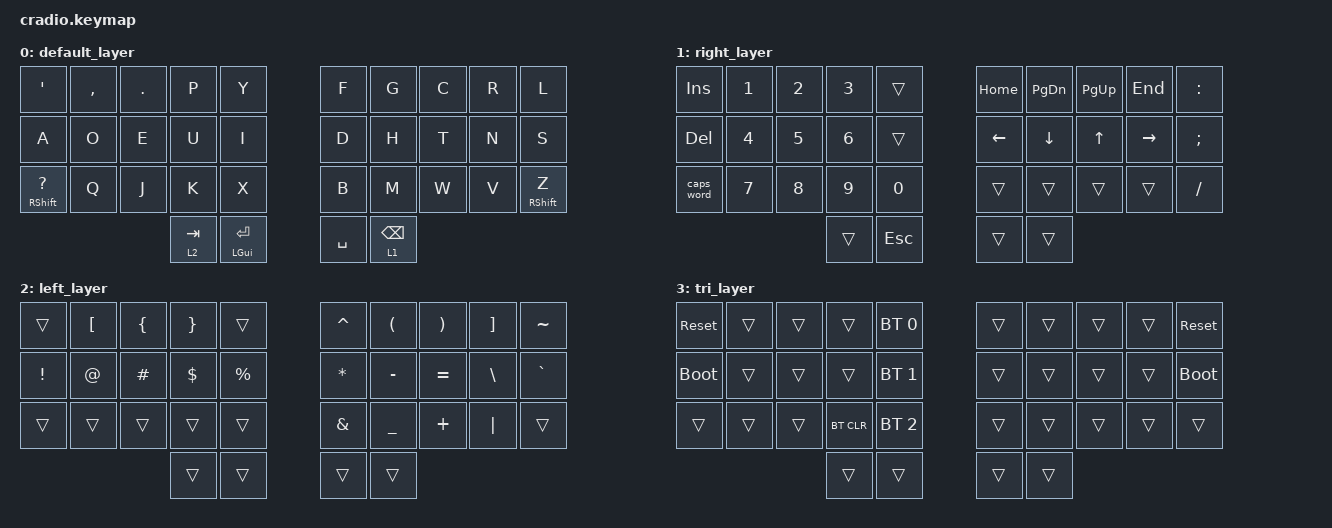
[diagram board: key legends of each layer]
// Copyright (c) 2022 The ZMK Contributors
// SPDX-License-Identifier: MIT

#include <behaviors.dtsi>
#include <dt-bindings/zmk/keys.h>
#include <dt-bindings/zmk/bt.h>

// Home row mods macro
#define HRML(k1,k2,k3,k4) &ht LSHFT k1  &ht LALT k2  &ht LCTRL k3  &ht LGUI k4
#define HRMR(k1,k2,k3,k4) &ht RGUI k1  &ht RCTRL k2  &ht RALT k3  &ht RSHFT k4

/ {
    behaviors {
        ht: hold_tap {
            compatible = "zmk,behavior-hold-tap";
            #binding-cells = <2>;
            flavor = "tap-preferred";
            tapping-term-ms = <220>;
            quick-tap-ms = <150>;
            require-prior-idle-ms = <100>;
            bindings = <&kp>, <&kp>;
        };
    };

    conditional_layers {
        compatible = "zmk,conditional-layers";
        tri_layer {
            if-layers = <1 2>;
            then-layer = <3>;
        };
    };

    keymap {
        compatible = "zmk,keymap";
        default_layer {
            bindings = <
        //╭──────────┬──────────┬──────────┬──────────┬──────────╮   ╭──────────┬──────────┬──────────┬──────────┬──────────╮
        //│  ' "     │  , <     │  . >     │  P       │  Y       │   │  F       │  G       │  C       │  R       │  L       │
            &kp SQT    &kp COMMA   &kp DOT    &kp P      &kp Y          &kp F      &kp G      &kp C      &kp R      &kp L
        //├──────────┼──────────┼──────────┼──────────┼──────────┤   ├──────────┼──────────┼──────────┼──────────┼──────────┤
        //│  A       │  O       │  E       │  U       │  I       │   │  D       │  H       │  T       │  N       │  S       │
            &kp A      &kp O      &kp E      &kp U      &kp I          &kp D      &kp H      &kp T      &kp N       &kp S
        //├──────────┼──────────┼──────────┼──────────┼──────────┤   ├──────────┼──────────┼──────────┼──────────┼──────────┤
        //│  ?      │  Q       │  J       │  K       │  X       │   │  B       │  M       │  W       │  V       │  Z       │
         &mt RSHFT QMARK &kp Q      &kp J      &kp K      &kp X          &kp B      &kp M      &kp W      &kp V    &mt RSHFT Z
        //╰──────────┴──────────┴──────────┼──────────┼──────────┤   ├──────────┼──────────┼──────────┴──────────┴──────────╯
                                            &lt 2 TAB   &mt LGUI ENTER   &kp SPACE  &lt 1 BSPC
        //                                 ╰──────────┴──────────╯   ╰──────────┴──────────╯
            >;
        };

        right_layer {
            bindings = <
        //╭──────────┬──────────┬──────────┬──────────┬──────────╮   ╭──────────┬──────────┬──────────┬──────────┬──────────╮
        //│ INSERT   │  1       │  2       │  3       │          │   │ HOME     │ PAGE DN  │ PAGE UP  │ END      │  :       │
            &kp INS    &kp N1     &kp N2     &kp N3     &trans         &kp HOME   &kp PG_DN  &kp PG_UP  &kp END    &kp COLON
        //├──────────┼──────────┼──────────┼──────────┼──────────┤   ├──────────┼──────────┼──────────┼──────────┼──────────┤
        //│ DELETE   │  4       │  5       │  6       │          │   │ LEFT     │ DOWN     │ UP       │ RIGHT    │  ;       │
            &kp DEL    &kp N4     &kp N5     &kp N6     &trans         &kp LEFT   &kp DOWN   &kp UP   &kp RIGHT   &kp SEMI
        //├──────────┼──────────┼──────────┼──────────┼──────────┤   ├──────────┼──────────┼──────────┼──────────┼──────────┤
        //│ CAPS     │  7       │  8       │  9       │  0       │   │          │          │          │          │    /     │
           &caps_word  &kp N7     &kp N8     &kp N9     &kp N0         &trans     &trans     &trans     &trans     &kp FSLH
        //╰──────────┴──────────┴──────────┼──────────┼──────────┤   ├──────────┼──────────┼──────────┴──────────┴──────────╯
                                             &trans     &kp ESC        &trans     &trans
        //                                 ╰──────────┴──────────╯   ╰──────────┴──────────╯
            >;
        };

        left_layer {
            bindings = <
        //╭──────────┬──────────┬──────────┬──────────┬──────────╮   ╭──────────┬──────────┬──────────┬──────────┬──────────╮
        //│          │  [       │  {       │  }       │          │   │  ^       │  (       │  )       │  ]       │  ~       │
            &trans     &kp LBKT   &kp LBRC   &kp RBRC   &trans         &kp CARET  &kp LPAR   &kp RPAR   &kp RBKT   &kp TILDE
        //├──────────┼──────────┼──────────┼──────────┼──────────┤   ├──────────┼──────────┼──────────┼──────────┼──────────┤
        //│  !       │  @       │  #       │  $       │  %       │   │  *       │  -       │  =       │  \       │  `       │
            &kp EXCL   &kp AT     &kp HASH   &kp DLLR   &kp PRCNT      &kp ASTRK  &kp MINUS  &kp EQUAL  &kp BSLH   &kp GRAVE
        //├──────────┼──────────┼──────────┼──────────┼──────────┤   ├──────────┼──────────┼──────────┼──────────┼──────────┤
        //│          │          │          │          │          │   │  &       │  _       │  +       │  │       │          │
            &trans     &trans     &trans     &trans     &trans         &kp AMPS   &kp UNDER  &kp PLUS   &kp PIPE   &trans
        //╰──────────┴──────────┴──────────┼──────────┼──────────┤   ├──────────┼──────────┼──────────┴──────────┴──────────╯
                                             &trans     &trans         &trans     &trans
        //                                 ╰──────────┴──────────╯   ╰──────────┴──────────╯
            >;
        };

        tri_layer {
            bindings = <
        //╭──────────┬──────────┬──────────┬──────────┬──────────╮   ╭──────────┬──────────┬──────────┬──────────┬──────────╮
        //│ RESET    │          │          │          │PROFILE 0 │   │          │          │          │          │  RESET   │
           &sys_reset  &trans     &trans     &trans    &bt BT_SEL 0    &trans     &trans     &trans     &trans    &sys_reset
        //├──────────┼──────────┼──────────┼──────────┼──────────┤   ├──────────┼──────────┼──────────┼──────────┼──────────┤
        //│BOOTLOADER│          │          │          │PROFILE 1 │   │          │          │          │          │BOOTLOADER│
          &bootloader  &trans     &trans     &trans    &bt BT_SEL 1    &trans     &trans     &trans     &trans    &bootloader
        //├──────────┼──────────┼──────────┼──────────┼──────────┤   ├──────────┼──────────┼──────────┼──────────┼──────────┤
        //│          │          │          │ CLEAR BT │PROFILE 2 │   │          │          │          │          │          │
            &trans     &trans     &trans    &bt BT_CLR &bt BT_SEL 2    &trans     &trans     &trans     &trans     &trans
        //╰──────────┴──────────┴──────────┼──────────┼──────────┤   ├──────────┼──────────┼──────────┴──────────┴──────────╯
                                             &trans     &trans         &trans     &trans
        //                                 ╰──────────┴──────────╯   ╰──────────┴──────────╯
            >;
        };
    };
};
